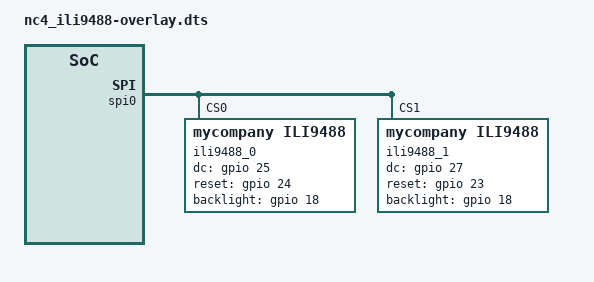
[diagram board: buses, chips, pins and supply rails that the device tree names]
/dts-v1/;
/plugin/;

/ {
    fragment@0 {
        target = <&spi0>;
        __overlay__ {
            status = "okay";

            ili9488_0: ili9488-panel@0 {
                compatible = "mycompany,ili9488";
                reg = <0>; /* CE0 */
                dc-gpios = <&gpio 25 0>;
                reset-gpios = <&gpio 24 0>;
                backlight-gpios = <&gpio 18 0>;
            };

            ili9488_1: ili9488-panel@1 {
                compatible = "mycompany,ili9488";
                reg = <1>; /* CE1 */
                dc-gpios = <&gpio 27 0>;
                reset-gpios = <&gpio 23 0>;
                backlight-gpios = <&gpio 18 0>;
            };

            // Example for a third panel:
            /*
            ili9488_2: ili9488-panel@2 {
                compatible = "mycompany,ili9488";
                reg = <2>; // Another CE line if available
                dc-gpios = <&gpio 22 0>;
                reset-gpios = <&gpio 5 0>;
                backlight-gpios = <&gpio 18 0>;
            };
            */
        };
    };
};
